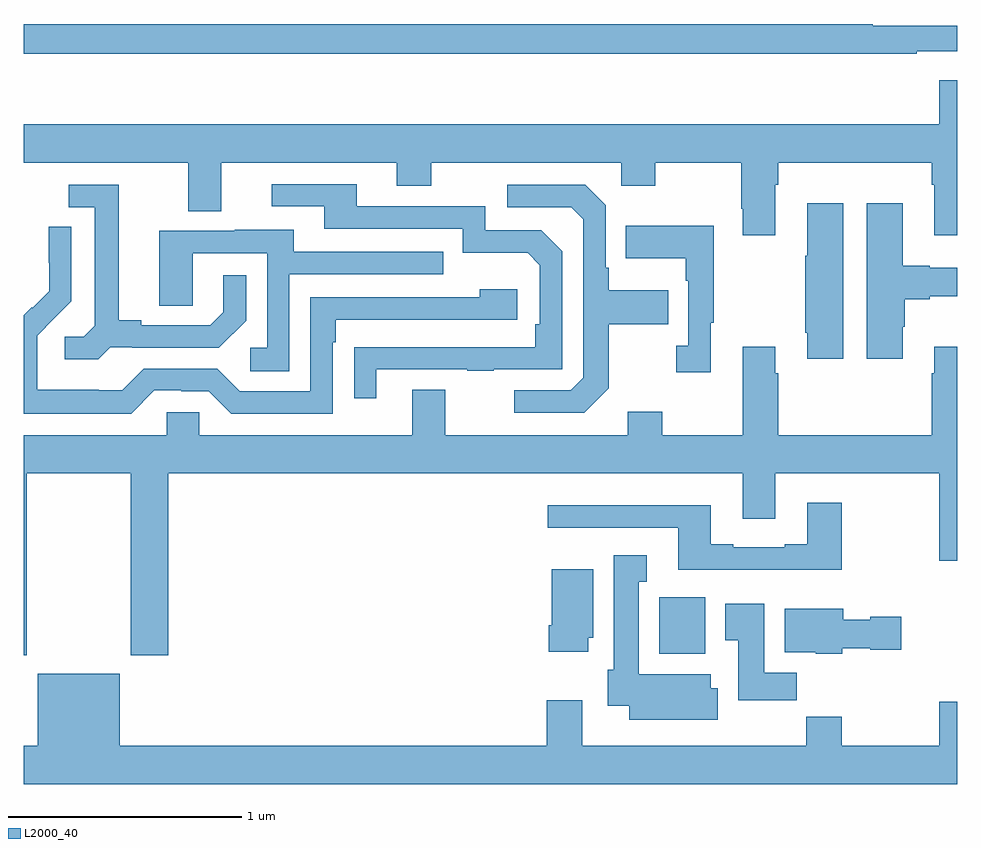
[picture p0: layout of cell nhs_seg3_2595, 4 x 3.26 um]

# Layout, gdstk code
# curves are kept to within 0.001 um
import gdstk
lib = gdstk.Library(unit=1e-6, precision=1e-09)
def R(c, l, rs):  # rectangles x0, y0, x1, y1
    for r in rs: c.add(gdstk.rectangle(r[:2], r[2:], *l))
def P(c, l, *ps):  # polygons
    for p in ps: c.add(gdstk.Polygon(p, *l))
L2000_40 = (2000, 40)

nhs_seg3_2595 = lib.new_cell('nhs_seg3_2595')
R(nhs_seg3_2595, L2000_40, [(247.724,689.486,247.921,689.728)])
P(nhs_seg3_2595, L2000_40, [(248.828,692.07),(249,692.07),(249,692.179),(248.638,692.179),(248.638,692.186),(245,692.186),(245,692.058),(248.828,692.058)],
  [(248.221,691.496),(248.234,691.496),(248.234,691.592),(248.891,691.592),(248.891,691.496),(248.903,691.496),(248.903,691.281),(249,691.281),(249,691.945),(248.924,691.945),(248.924,691.756),(245,691.756),(245,691.592),(245.705,691.592),(245.705,691.384),(245.845,691.384),(245.845,691.592),(246.599,691.592),(246.599,691.493),(246.747,691.493),(246.747,691.592),(247.56,691.592),(247.56,691.493),(247.707,691.493),(247.707,691.592),(248.074,691.592),(248.074,691.393),(248.081,691.393),(248.081,691.281),(248.221,691.281)],
  [(246.511,690.705),(246.901,690.705),(246.901,690.7),(247.013,690.7),(247.013,690.705),(247.308,690.705),(247.308,691.212),(247.218,691.302),(246.978,691.302),(246.978,691.404),(246.427,691.404),(246.427,691.5),(246.063,691.5),(246.063,691.404),(246.287,691.404),(246.287,691.308),(246.882,691.308),(246.882,691.205),(247.159,691.205),(247.212,691.152),(247.212,690.898),(247.192,690.898),(247.192,690.801),(246.415,690.8),(246.415,690.582),(246.511,690.582)],
  [(245.37,690.801),(245.464,690.801),(245.464,690.798),(245.836,690.798),(245.952,690.914),(245.952,691.108),(245.855,691.108),(245.855,690.951),(245.798,690.894),(245.503,690.894),(245.503,690.917),(245.407,690.917),(245.407,691.497),(245.193,691.497),(245.193,691.401),(245.303,691.401),(245.303,690.893),(245.256,690.846),(245.175,690.846),(245.175,690.749),(245.318,690.749)],
  [(247.507,690.625),(247.507,690.898),(247.763,690.898),(247.763,691.045),(247.507,691.045),(247.507,691.141),(247.494,691.141),(247.494,691.41),(247.407,691.497),(247.071,691.497),(247.071,691.401),(247.347,691.401),(247.398,691.35),(247.398,690.669),(247.344,690.615),(247.101,690.615),(247.101,690.519),(247.401,690.519)],
  [(248.512,691.417),(248.357,691.417),(248.357,691.193),(248.35,691.193),(248.35,690.862),(248.357,690.862),(248.357,690.75),(248.512,690.75)],
  [(248.767,690.889),(248.775,690.889),(248.775,691.007),(248.883,691.007),(248.883,691.019),(249,691.019),(249,691.141),(248.883,691.141),(248.883,691.149),(248.767,691.149),(248.767,691.417),(248.612,691.417),(248.612,690.75),(248.767,690.75)],
  [(247.945,690.905),(247.957,690.905),(247.957,691.321),(247.579,691.321),(247.579,691.181),(247.836,691.181),(247.836,691.085),(247.848,691.085),(247.848,690.806),(247.797,690.806),(247.797,690.693),(247.945,690.693)],
  [(245.559,690.615),(245.675,690.615),(245.675,690.612),(245.793,690.612),(245.889,690.516),(246.324,690.516),(246.324,690.821),(246.337,690.821),(246.337,690.918),(247.114,690.918),(247.114,691.048),(246.953,691.048),(246.953,691.014),(246.228,691.014),(246.228,690.612),(245.925,690.612),(245.829,690.708),(245.514,690.708),(245.421,690.615),(245.321,690.615),(245.321,690.619),(245.058,690.619),(245.058,690.753),(245.056,690.753),(245.056,690.85),(245.202,690.998),(245.202,691.316),(245.106,691.316),(245.106,691.162),(245.108,691.162),(245.108,691.04),(245.037,690.969),(245.034,690.972),(245,690.938),(245,690.515),(245.459,690.515)],
  [(246.138,691.113),(246.797,691.113),(246.797,691.209),(246.157,691.209),(246.157,691.303),(245.903,691.303),(245.903,691.299),(245.579,691.299),(245.579,690.979),(245.724,690.979),(245.724,691.203),(246.042,691.203),(246.042,690.798),(245.97,690.798),(245.97,690.697),(246.138,690.697)],
  [(245.013,690.26),(245.458,690.26),(245.458,689.481),(245.618,689.481),(245.618,690.26),(248.081,690.26),(248.081,690.066),(248.221,690.066),(248.221,690.26),(248.924,690.26),(248.924,689.886),(249,689.886),(249,690.802),(248.903,690.802),(248.903,690.689),(248.891,690.689),(248.891,690.424),(248.234,690.424),(248.234,690.689),(248.221,690.689),(248.221,690.802),(248.081,690.802),(248.081,690.424),(247.737,690.424),(247.737,690.523),(247.589,690.523),(247.589,690.424),(246.805,690.424),(246.805,690.619),(246.665,690.619),(246.665,690.424),(245.751,690.424),(245.751,690.522),(245.613,690.522),(245.613,690.424),(245,690.424),(245,689.481),(245.013,689.481)],
  [(248.505,690.133),(248.357,690.133),(248.357,689.956),(248.261,689.956),(248.261,689.943),(248.041,689.943),(248.041,689.956),(247.945,689.956),(247.945,690.124),(247.245,690.124),(247.245,690.027),(247.805,690.027),(247.805,689.846),(248.505,689.846)],
  [(247.975,689.339),(247.945,689.339),(247.945,689.398),(247.636,689.398),(247.636,689.795),(247.669,689.795),(247.669,689.908),(247.529,689.908),(247.529,689.418),(247.502,689.418),(247.502,689.264),(247.595,689.264),(247.595,689.204),(247.975,689.204)],
  [(247.42,689.556),(247.441,689.556),(247.441,689.848),(247.262,689.848),(247.262,689.608),(247.25,689.608),(247.25,689.496),(247.42,689.496)],
  [(248.312,689.404),(248.173,689.404),(248.173,689.701),(248.006,689.701),(248.006,689.545),(248.063,689.545),(248.063,689.286),(248.312,689.286)],
  [(248.508,689.51),(248.628,689.51),(248.628,689.503),(248.761,689.503),(248.761,689.645),(248.628,689.645),(248.628,689.632),(248.512,689.632),(248.512,689.68),(248.261,689.68),(248.261,689.492),(248.394,689.492),(248.394,689.486),(248.508,689.486)],
  [(249,689.281),(248.924,689.281),(248.924,689.092),(248.505,689.092),(248.505,689.216),(248.353,689.216),(248.353,689.092),(247.393,689.092),(247.393,689.287),(247.241,689.287),(247.241,689.092),(245.41,689.092),(245.41,689.401),(245.06,689.401),(245.06,689.092),(245,689.092),(245,688.928),(249,688.928)])

lib.write_gds('nhs_seg3_2595.gds')
